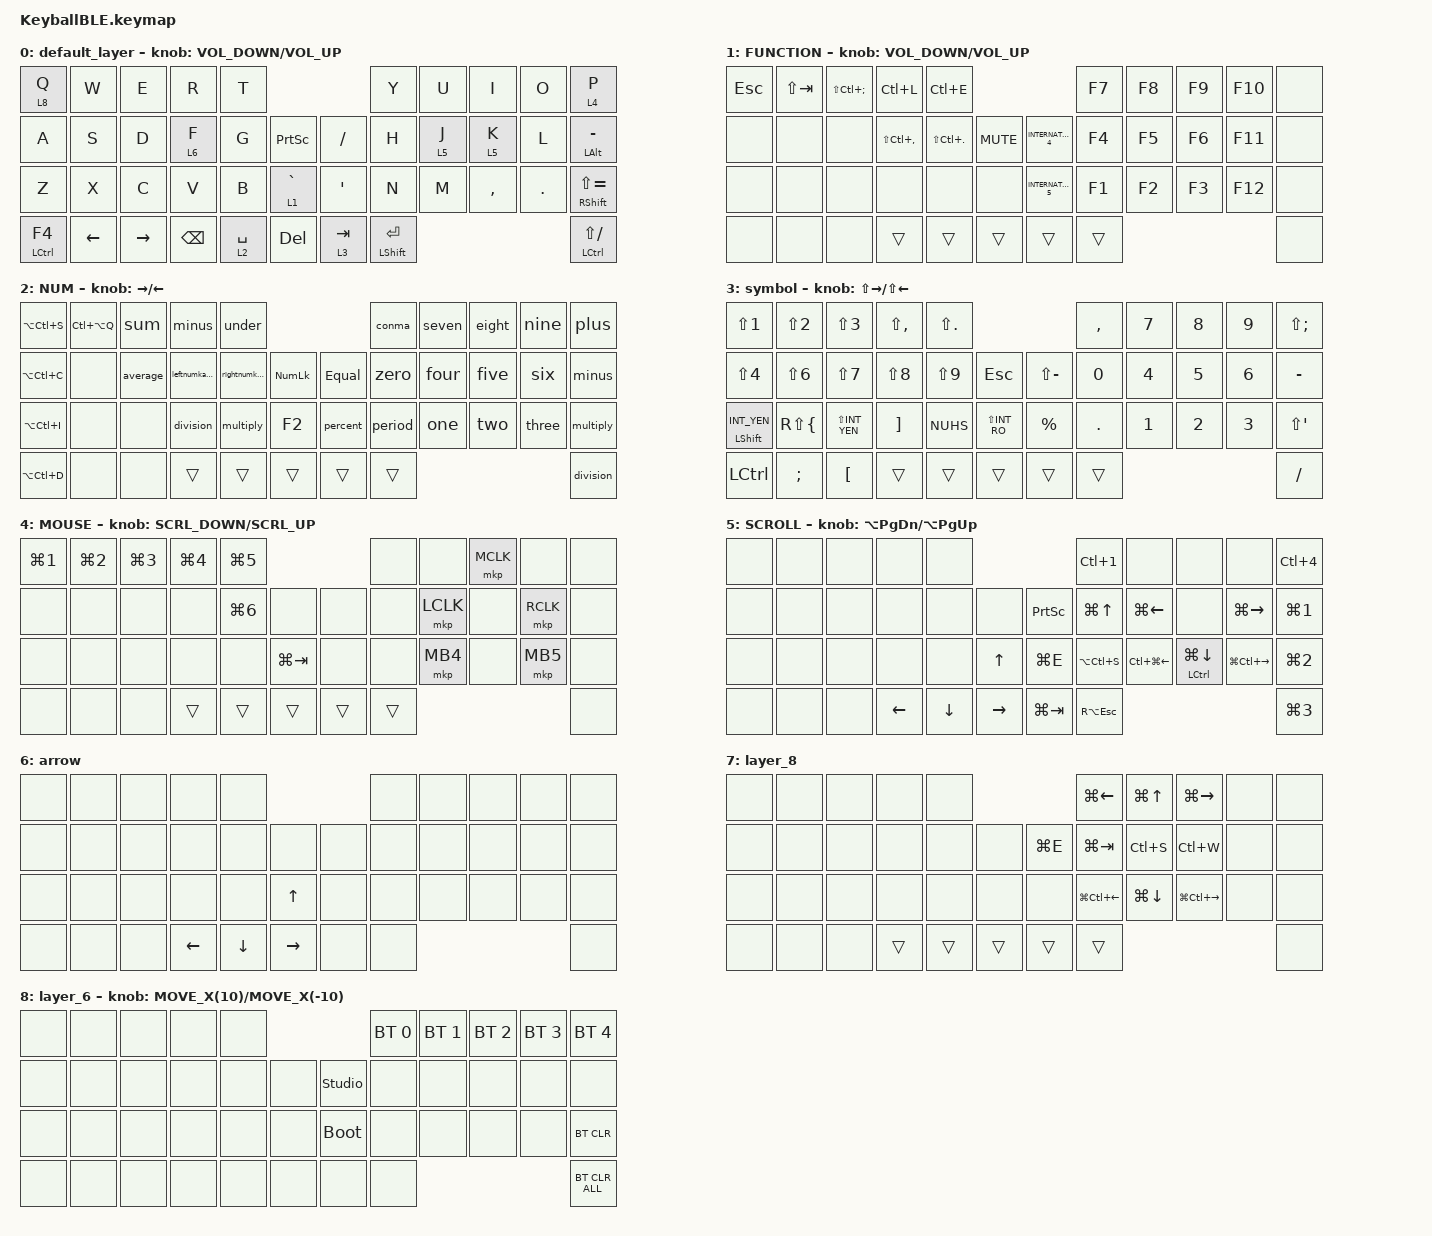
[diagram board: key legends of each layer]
#define ZMK_POINTING_DEFAULT_SCRL_VAL 120    // default: 10

#include <behaviors.dtsi>
#include <dt-bindings/zmk/bt.h>
#include <dt-bindings/zmk/keys.h>
#include <dt-bindings/zmk/pointing.h>

#define MOUSE 4
#define SCROLL 5
#define NUM 6

&mt {
    flavor = "balanced";
    quick-tap-ms = <0>;
    tapping-term-ms = <400>;
};

/ {
    combos {
        compatible = "zmk,combos";

        left_click {
            bindings = <&mkp LCLK>;
            key-positions = <18 19>;
        };

        before {
            bindings = <&mkp MB4>;
            key-positions = <30 31>;
        };

        pre {
            bindings = <&kp LC(Z)>;
            key-positions = <6 7>;
        };

        for {
            bindings = <&kp LC(Y)>;
            key-positions = <8 7>;
        };

        next {
            bindings = <&mkp MB5>;
            key-positions = <31 32>;
        };

        right_click {
            bindings = <&mkp RCLK>;
            key-positions = <19 20>;
        };

        left-tab {
            bindings = <&kp LC(LS(TAB))>;
            key-positions = <17 18>;
        };

        cut {
            bindings = <&kp LC(X)>;
            key-positions = <6 7 8>;
        };

        copy {
            bindings = <&kp LC(C)>;
            key-positions = <18 19 20>;
        };

        paste {
            bindings = <&kp LC(V)>;
            key-positions = <30 31 32>;
        };

        save {
            bindings = <&kp LC(S)>;
            key-positions = <17 18 19>;
        };

        close {
            bindings = <&kp LC(W)>;
            key-positions = <20 19 21>;
        };

        serch {
            bindings = <&kp LC(F)>;
            key-positions = <5 6 7>;
        };

        all-close {
            bindings = <&kp LA(F4)>;
            key-positions = <7 8 9>;
        };

        yamakakko {
            bindings = <&yamakakko>;
            key-positions = <4 2 3>;
        };

        marukakko {
            bindings = <&marukakko>;
            key-positions = <14 12 13>;
        };

        kagikakko {
            bindings = <&kagikakko>;
            key-positions = <26 25 24>;
        };

        pastecontrol {
            bindings = <&kp LG(V)>;
            key-positions = <29 30 31>;
        };

        show-desktop {
            bindings = <&kp LG(D)>;
            key-positions = <31 32 33>;
        };

        right {
            bindings = <&kp RIGHT>;
            key-positions = <13 12>;
        };

        up {
            bindings = <&kp UP_ARROW>;
            key-positions = <3 2>;
        };

        in {
            bindings = <&in>;
            key-positions = <18 7 8>;
        };

        mail {
            bindings = <&mailreset>;
            key-positions = <16 28>;
        };

        word {
            bindings = <&kp LG(NUMBER_3)>;
            key-positions = <3 2 1>;
        };

        excel {
            bindings = <&kp LG(NUMBER_4)>;
            key-positions = <2 1 0>;
        };

        ppt {
            bindings = <&kp LG(NUMBER_5)>;
            key-positions = <25 24 23>;
        };

        pdf {
            bindings = <&kp LG(NUMBER_6)>;
            key-positions = <22 23 24>;
        };

        right-tab {
            bindings = <&kp LC(TAB)>;
            key-positions = <21 20>;
        };

        left {
            bindings = <&kp LEFT>;
            key-positions = <11 12>;
        };

        windows {
            bindings = <&folderopen>;
            key-positions = <30 32>;
        };

        under {
            bindings = <&kp DOWN_ARROW>;
            key-positions = <25 24>;
        };

        id {
            bindings = <&id>;
            key-positions = <17 6 7>;
        };
    };

    macros {
        to_layer_0: to_layer_0 {
            compatible = "zmk,behavior-macro-one-param";
            #binding-cells = <1>;
            bindings = <&to 0 &macro_param_1to1 &kp MACRO_PLACEHOLDER>;
            label = "TO_LAYER_0";
        };

        kagikakko: kagikakko {
            compatible = "zmk,behavior-macro";
            #binding-cells = <0>;
            bindings = <&kp RIGHT_BRACKET &kp NUHS &kp ENTER &kp LEFT_ARROW>;
            label = "KAGIKAKKO";
        };

        marukakko: marukakko {
            compatible = "zmk,behavior-macro";
            #binding-cells = <0>;
            bindings = <&kp LS(NUMBER_8) &kp LS(NUMBER_9) &kp ENTER &kp LEFT_ARROW>;
            label = "MARUKAKKO";
        };

        yamakakko: yamakakko {
            compatible = "zmk,behavior-macro";
            #binding-cells = <0>;
            bindings = <&kp LS(COMMA) &kp LS(PERIOD) &kp ENTER &kp LEFT_ARROW>;
            label = "YAMAKAKKO";
        };

        Equal: d1 {
            compatible = "zmk,behavior-macro";
            #binding-cells = <0>;
            bindings = <&kp GRAVE &kp LS(MINUS) &kp GRAVE>;
            label = "D1";
        };

        mailreset: mailreset {
            compatible = "zmk,behavior-macro";
            #binding-cells = <0>;
            bindings = <&kp LC(C) &kp LC(HOME) &kp LC(V) &kp LS(PAGE_UP) &kp LC(INT_YEN)>;
            label = "MAILRESET";
        };

        sum: sum {
            compatible = "zmk,behavior-macro";
            #binding-cells = <0>;
            bindings = <&kp GRAVE &kp RS(MINUS) &kp S &kp U &kp M &kp LS(NUMBER_8) &kp GRAVE>;
            label = "SUM";
        };

        average: average {
            compatible = "zmk,behavior-macro";
            #binding-cells = <0>;
            bindings = <&kp GRAVE &kp RS(MINUS) &kp A &kp V &kp E &kp R &kp A &kp G &kp E &kp LS(NUMBER_8) &kp GRAVE>;
            label = "AVERAGE";
        };

        in: in {
            compatible = "zmk,behavior-macro";
            #binding-cells = <0>;
            bindings = <&kp LS(T) &kp P &kp NUMBER_3 &kp NUMBER_3 &kp NUMBER_3 &kp NUMBER_4 &kp NUMBER_4 &kp NUMBER_4>;
            label = "IN";
        };

        one: one {
            compatible = "zmk,behavior-macro";
            #binding-cells = <0>;
            bindings = <&kp GRAVE &kp KP_NUMBER_1 &kp GRAVE>;
            label = "ONE";
        };

        hyphen: hyphen {
            compatible = "zmk,behavior-macro";
            #binding-cells = <0>;
            bindings = <&kp GRAVE &kp MINUS &kp GRAVE>;
            label = "HYPHEN";
        };

        two: two {
            compatible = "zmk,behavior-macro";
            #binding-cells = <0>;
            bindings = <&kp GRAVE &kp KP_NUMBER_2 &kp GRAVE>;
            label = "TWO";
        };

        three: three {
            compatible = "zmk,behavior-macro";
            #binding-cells = <0>;
            bindings = <&kp GRAVE &kp KP_NUMBER_3 &kp GRAVE>;
            label = "THREE";
        };

        four: four {
            compatible = "zmk,behavior-macro";
            #binding-cells = <0>;
            bindings = <&kp GRAVE &kp KP_NUMBER_4 &kp GRAVE>;
            label = "FOUR";
        };

        five: five {
            compatible = "zmk,behavior-macro";
            #binding-cells = <0>;
            bindings = <&kp GRAVE &kp KP_NUMBER_5 &kp GRAVE>;
            label = "FIVE";
        };

        six: six {
            compatible = "zmk,behavior-macro";
            #binding-cells = <0>;
            bindings = <&kp GRAVE &kp KP_NUMBER_6 &kp GRAVE>;
            label = "SIX";
        };

        seven: seven {
            compatible = "zmk,behavior-macro";
            #binding-cells = <0>;
            bindings = <&kp GRAVE &kp KP_NUMBER_7 &kp GRAVE>;
            label = "SEVEN";
        };

        eight: eight {
            compatible = "zmk,behavior-macro";
            #binding-cells = <0>;
            bindings = <&kp GRAVE &kp KP_NUMBER_8 &kp GRAVE>;
            label = "EIGHT";
        };

        nine: nine {
            compatible = "zmk,behavior-macro";
            #binding-cells = <0>;
            bindings = <&kp GRAVE &kp KP_NUMBER_9 &kp GRAVE>;
            label = "NINE";
        };

        zero: zero {
            compatible = "zmk,behavior-macro";
            #binding-cells = <0>;
            bindings = <&kp GRAVE &kp KP_NUMBER_0 &kp GRAVE>;
            label = "ZERO";
        };

        plus: plus {
            compatible = "zmk,behavior-macro";
            #binding-cells = <0>;
            bindings = <&kp GRAVE &kp LS(SEMI) &kp GRAVE>;
            label = "PLUS";
        };

        minus: minus {
            compatible = "zmk,behavior-macro";
            #binding-cells = <0>;
            bindings = <&kp GRAVE &kp MINUS &kp GRAVE>;
            label = "MINUS";
        };

        multiply: multiply {
            compatible = "zmk,behavior-macro";
            #binding-cells = <0>;
            bindings = <&kp GRAVE &kp LS(SINGLE_QUOTE) &kp GRAVE>;
            label = "MULTIPLY";
        };

        division: division {
            compatible = "zmk,behavior-macro";
            #binding-cells = <0>;
            bindings = <&kp GRAVE &kp SLASH &kp GRAVE>;
            label = "DIVISION";
        };

        period: period {
            compatible = "zmk,behavior-macro";
            #binding-cells = <0>;
            bindings = <&kp GRAVE &kp PERIOD &kp GRAVE>;
            label = "PERIOD";
        };

        conma: conma {
            compatible = "zmk,behavior-macro";
            #binding-cells = <0>;
            bindings = <&kp GRAVE &kp COMMA &kp GRAVE>;
            label = "CONMA";
        };

        percent: percent {
            compatible = "zmk,behavior-macro";
            #binding-cells = <0>;
            bindings = <&kp GRAVE &kp PERCENT &kp GRAVE>;
            label = "PERCENT";
        };

        yen: yen {
            compatible = "zmk,behavior-macro";
            #binding-cells = <0>;
            bindings = <&kp GRAVE &kp INTERNATIONAL_3 &kp GRAVE>;
            label = "YEN";
        };

        leftnumkakko: leftnumkakko {
            compatible = "zmk,behavior-macro";
            #binding-cells = <0>;
            bindings = <&kt GRAVE &kp LS(NUMBER_8) &kp GRAVE>;
            label = "LEFTNUMKAKKO";
        };

        rightnumkakko: rightnumkakko {
            compatible = "zmk,behavior-macro";
            #binding-cells = <0>;
            bindings = <&kt GRAVE &kp LS(NUMBER_9) &kp GRAVE>;
            label = "RIGHTNUMKAKKO";
        };

        new_macro: new_macro {
            compatible = "zmk,behavior-macro";
            #binding-cells = <0>;
            bindings = <&none>;
            label = "NEW_MACRO";
        };

        shiftclick: shiftclick {
            compatible = "zmk,behavior-macro";
            #binding-cells = <0>;
            bindings = <&sk LEFT_SHIFT &mkp LCLK>;
            label = "SHIFTCLICK";
        };

        folderopen: folderopen {
            compatible = "zmk,behavior-macro";
            #binding-cells = <0>;
            bindings = <&kp LC(C) &kp LEFT_GUI &kp LC(V) &kp ENTER>;
            label = "FOLDEROPEN";
        };

        leftkagikakko: leftkagikakko {
            compatible = "zmk,behavior-macro";
            #binding-cells = <0>;
            bindings = <&kt GRAVE &kp LEFT_BRACKET &kp GRAVE>;
            label = "LEFTKAGIKAKKO";
        };

        rightkagikakko: rightkagikakko {
            compatible = "zmk,behavior-macro";
            #binding-cells = <0>;
            bindings = <&kt GRAVE &kp NUHS &kp GRAVE>;
            label = "RIGHTKAGIKAKKO";
        };

        under: under {
            compatible = "zmk,behavior-macro";
            #binding-cells = <0>;
            bindings = <&kp GRAVE &kp LS(INT_RO) &kp GRAVE>;
            label = "UNDER";
        };

        id: id {
            compatible = "zmk,behavior-macro";
            #binding-cells = <0>;
            bindings = <&kp LS(T) &kp P &kp NUMBER_0 &kp NUMBER_0 &kp NUMBER_0 &kp NUMBER_8 &kp NUMBER_8 &kp NUMBER_3>;
            label = "ID";
        };
    };

    behaviors {
        lt_to_layer_0: lt_to_layer_0 {
            compatible = "zmk,behavior-hold-tap";
            label = "LAYER_TAP_TO_0";
            bindings = <&mo>, <&to_layer_0>;

            #binding-cells = <2>;
            tapping-term-ms = <400>;
        };

        ROTATE: ROTATE {
            compatible = "zmk,behavior-sensor-rotate-var";
            label = "ROTATE";
            #sensor-binding-cells = <2>;
            bindings = <&msc>, <&msc>;

            tap-ms = <20>;
        };
    };

    keymap {
        compatible = "zmk,keymap";

        default_layer {
            bindings = <
&lt 8 Q              &kp W           &kp E      &kp R          &kp T                                               &kp Y                 &kp U    &kp I      &kp O    &lt 4 P
&kp A                &kp S           &kp D      &lt 6 F        &kp G        &kp PRINTSCREEN      &kp SLASH         &kp H                 &lt 5 J  &lt 5 K    &kp L    &mt LEFT_ALT MINUS
&kp Z                &kp X           &kp C      &kp V          &kp B        &lt 1 GRAVE          &kp SINGLE_QUOTE  &kp N                 &kp M    &kp COMMA  &kp DOT  &mt RIGHT_SHIFT LS(EQUAL)
&mt LEFT_CONTROL F4  &kp LEFT_ARROW  &kp RIGHT  &kp BACKSPACE  &lt 2 SPACE  &kp DELETE           &lt 3 TAB         &mt LEFT_SHIFT ENTER                               &mt LEFT_CONTROL LS(SLASH)
            >;

            sensor-bindings = <&inc_dec_kp C_VOLUME_DOWN C_VOLUME_UP>;
        };

        FUNCTION {
            bindings = <
&kp ESCAPE  &kp LS(TAB)  &kp LS(LC(SEMI))  &kp LC(L)          &kp LC(E)                                                &kp F7  &kp F8  &kp F9  &kp F10  &none
&none       &none        &none             &kp LS(LC(COMMA))  &kp LS(LC(PERIOD))  &kp C_MUTE      &kp INTERNATIONAL_4  &kp F4  &kp F5  &kp F6  &kp F11  &none
&none       &none        &none             &none              &none               &none           &kp INTERNATIONAL_5  &kp F1  &kp F2  &kp F3  &kp F12  &none
&none       &none        &none             &trans             &trans              &trans          &trans               &trans                           &none
            >;

            sensor-bindings = <&inc_dec_kp C_VOLUME_DOWN C_VOLUME_UP>;
        };

        NUM {
            bindings = <
&kp LA(LC(S))  &kp LC(LA(Q))  &sum      &minus         &under                                        &conma   &seven  &eight  &nine   &plus
&kp LA(LC(C))  &none          &average  &leftnumkakko  &rightnumkakko  &kp KP_NUMLOCK      &Equal    &zero    &four   &five   &six    &minus
&kp LA(LC(I))  &none          &none     &division      &multiply       &kp F2              &percent  &period  &one    &two    &three  &multiply
&kp LA(LC(D))  &none          &none     &trans         &trans          &trans              &trans    &trans                           &division
            >;

            sensor-bindings = <&inc_dec_kp RIGHT LEFT_ARROW>;
        };

        symbol {
            bindings = <
&kp LS(NUMBER_1)        &kp LS(NUMBER_2)  &kp LS(NUMBER_3)  &kp LS(COMMA)      &kp LS(PERIOD)                                       &kp COMMA     &kp N7        &kp NUMBER_8  &kp N9        &kp LS(SEMI)
&kp LS(NUMBER_4)        &kp LS(NUMBER_6)  &kp LS(NUMBER_7)  &kp LS(NUMBER_8)   &kp LS(NUMBER_9)  &kp ESCAPE          &kp LS(MINUS)  &kp NUMBER_0  &kp NUMBER_4  &kp N5        &kp NUMBER_6  &kp MINUS
&mt LEFT_SHIFT INT_YEN  &kp RS(LBRC)      &kp LS(INT_YEN)   &kp RIGHT_BRACKET  &kp NUHS          &kp LS(INT_RO)      &kp PERCENT    &kp PERIOD    &kp NUMBER_1  &kp NUMBER_2  &kp NUMBER_3  &kp LS(APOS)
&kp LEFT_CONTROL        &kp SEMICOLON     &kp LEFT_BRACKET  &trans             &trans            &trans              &trans         &trans                                                  &kp SLASH
            >;

            sensor-bindings = <&inc_dec_kp LS(RIGHT) LS(LEFT_ARROW)>;
        };

        MOUSE {
            bindings = <
&kp LG(NUMBER_1)  &kp LG(NUMBER_2)  &kp LG(NUMBER_3)  &kp LG(NUMBER_4)  &kp LG(NUMBER_5)                           &none   &none      &mkp MCLK  &none      &none
&none             &none             &none             &none             &kp LG(NUMBER_6)  &none            &none   &none   &mkp LCLK  &none      &mkp RCLK  &none
&none             &none             &none             &none             &none             &kp LG(TAB)      &none   &none   &mkp MB4   &none      &mkp MB5   &none
&none             &none             &none             &trans            &trans            &trans           &trans  &trans                                   &none
            >;

            sensor-bindings = <&ROTATE SCRL_DOWN SCRL_UP>;
        };

        SCROLL {
            bindings = <
&none  &none  &none  &none           &none                                              &kp LC(NUMBER_1)  &none             &none                      &none              &kp LC(NUMBER_4)
&none  &none  &none  &none           &none           &none             &kp PRINTSCREEN  &kp LG(UP_ARROW)  &kp LG(LEFT)      &none                      &kp LG(RIGHT)      &kp LG(NUMBER_1)
&none  &none  &none  &none           &none           &kp UP_ARROW      &kp LG(E)        &kp LA(LC(S))     &kp LC(LG(LEFT))  &mt LEFT_CONTROL LG(DOWN)  &kp LG(LC(RIGHT))  &kp LG(NUMBER_2)
&none  &none  &none  &kp LEFT_ARROW  &kp DOWN_ARROW  &kp RIGHT         &kp LG(TAB)      &kp RA(ESCAPE)                                                                    &kp LG(NUMBER_3)
            >;

            sensor-bindings = <&inc_dec_kp LA(PAGE_DOWN) LA(PAGE_UP)>;
        };

        arrow {
            bindings = <
&none  &none  &none  &none     &none                                    &none  &none  &none  &none  &none
&none  &none  &none  &none     &none           &none             &none  &none  &none  &none  &none  &none
&none  &none  &none  &none     &none           &kp UP_ARROW      &none  &none  &none  &none  &none  &none
&none  &none  &none  &kp LEFT  &kp DOWN_ARROW  &kp RIGHT         &none  &none                       &none
            >;
        };

        layer_8 {
            bindings = <
&none  &none  &none  &none   &none                          &kp LG(LEFT)            &kp LG(UP_ARROW)    &kp LG(RIGHT)      &none  &none
&none  &none  &none  &none   &none   &none       &kp LG(E)  &kp LG(TAB)             &kp LC(S)           &kp LC(W)          &none  &none
&none  &none  &none  &none   &none   &none       &none      &kp LG(LC(LEFT_ARROW))  &kp LG(DOWN_ARROW)  &kp LG(LC(RIGHT))  &none  &none
&none  &none  &none  &trans  &trans  &trans      &trans     &trans                                                                &none
            >;
        };

        layer_6 {
            bindings = <
&none  &none  &none  &none  &none                             &bt BT_SEL 0  &bt BT_SEL 1  &bt BT_SEL 2  &bt BT_SEL 3  &bt BT_SEL 4
&none  &none  &none  &none  &none  &none      &studio_unlock  &none         &none         &none         &none         &none
&none  &none  &none  &none  &none  &none      &bootloader     &none         &none         &none         &none         &bt BT_CLR
&none  &none  &none  &none  &none  &none      &none           &none                                                   &bt BT_CLR_ALL
            >;

            sensor-bindings = <&ROTATE MOVE_X(10) MOVE_X(-10)>;
        };
    };
};
